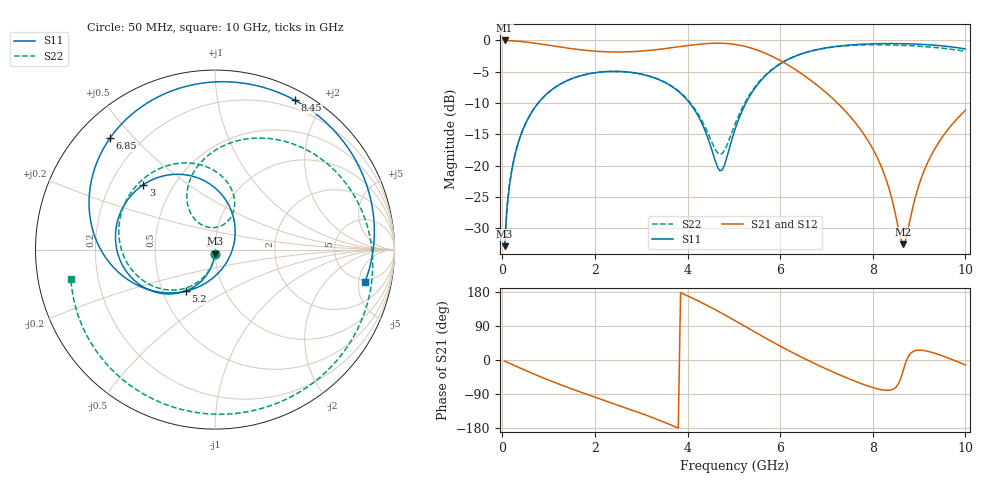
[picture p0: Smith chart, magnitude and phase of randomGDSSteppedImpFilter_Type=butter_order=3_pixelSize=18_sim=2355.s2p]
! freq	dB(S11)	phase(S11)	dB(S12)	phase(S12)
!  dB(S21)	phase(S21)	dB(S22)	phase(S22)
!S-par simulation data
#  GHz  S  DB  R 50
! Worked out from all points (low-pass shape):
!   200 points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, 50 MHz to 10 GHz, reference 50 ohm
!   highest |S21| = 0.00 dB at 50 MHz (marker M1); lowest = -32.6 dB at 8.65 GHz (marker M2)
!   |S21| within 3 dB of the highest: start of sweep to 5.949 GHz
!   lowest |S11| = -32.9 dB at 50 MHz (marker M3), VSWR 1.05, Z = 49.8 - j2.27 ohm
!   |S11| at or under -10 dB: start of sweep to 775.5 MHz; 4.046 GHz to 5.261 GHz (1.215 GHz wide, 26.1 % of centre)
!   |S22| runs from -32.9 to -0.7 dB; largest |S21 - S12| = 0
!   S11 on the Smith chart (normalised r, x): 50 MHz: 1.00, -0.05; 3 GHz: 0.34, +0.35; 5.2 GHz: 0.65, -0.33; 6.85 GHz: 0.09, +0.43; 8.45 GHz: 0.11, +1.67; 10 GHz: 4.44, -6.00
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0.05  -32.86 -92.7  -0.00 -2.8  -0.00 -2.8  -32.87 -93.0
0.1  -26.86 -95.5  -0.01 -5.6  -0.01 -5.6  -26.87 -96.1
0.2  -20.92 -101.0  -0.05 -11.1  -0.05 -11.1  -20.92 -102.1
0.5  -13.32 -116.5  -0.25 -27.4  -0.25 -27.4  -13.32 -119.4
1.1  -7.71 -145.2  -0.88 -57.8  -0.88 -57.8  -7.71 -151.5
1.75  -5.52 -172.7  -1.55 -87.3  -1.55 -87.3  -5.53 177.0
3  -5.38 137.7  -1.70 -140.9  -1.70 -140.9  -5.38 120.1
3.4  -6.31 120.1  -1.41 -159.4  -1.41 -159.4  -6.29 101.1
4.1  -10.54 80.7  -0.73 163.6  -0.73 163.6  -10.35 69.2
4.7  -20.83 -19.4  -0.45 126.1  -0.45 126.1  -18.22 92.2
5.05  -13.69 -108.9  -0.67 102.1  -0.67 102.1  -12.94 124.0
5.2  -10.92 -125.3  -0.88 91.6  -0.88 91.6  -10.49 120.9
5.6  -6.28 -156.8  -1.80 63.7  -1.80 63.7  -6.13 99.1
6  -3.76 178.0  -3.21 36.7  -3.21 36.7  -3.70 71.6
6.7  -1.63 140.7  -6.59 -6.8  -6.59 -6.8  -1.64 22.7
6.85  -1.38 133.4  -7.46 -15.4  -7.46 -15.4  -1.40 12.5
7.5  -0.73 103.5  -12.06 -50.3  -12.06 -50.3  -0.82 -29.5
8.35  -0.50 66.2  -23.65 -79.9  -23.65 -79.9  -0.71 -79.4
8.45  -0.50 61.7  -26.46 -76.4  -26.46 -76.4  -0.73 -85.0
8.65  -0.52 52.8  -32.56 -30.9  -32.56 -30.9  -0.78 -96.0
9.2  -0.69 27.6  -19.28 22.6  -19.28 22.6  -1.03 -125.6
10  -1.37 -12.4  -11.18 -13.0  -11.18 -13.0  -1.73 -168.4
